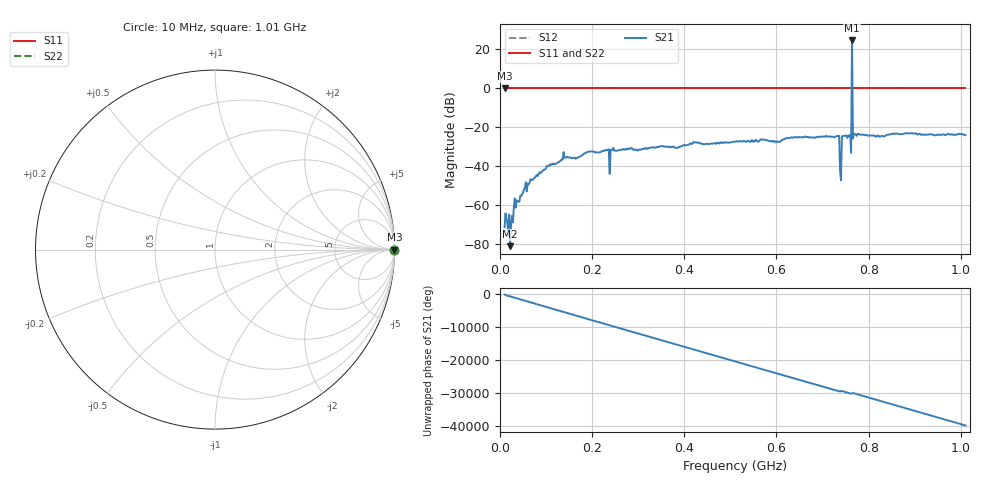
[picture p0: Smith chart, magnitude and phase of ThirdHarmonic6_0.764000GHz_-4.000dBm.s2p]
! 8/16/2025 1:31:25 AM
! C:\ANRITSUVNA\TEMP\TEMP.S2P
! CHANNEL.1
! TR.MEASUREMENT
! RAW.DATA
! RF.CORRECTION.OFF
! AVERAGING.OFF
! IF.BANDWIDTH: 5KHZ
! SWEEPTYPE:  FREQ.SWEEP(Linear)
! Reference Plane Port Info
! PORT:  PORT1  PORT2
! DISTANCE:  0  m  0  m
! TIME:  0  s  0  s
! PHASE.OFFSET:  0  deg.  0  deg.
! LOSS:  0  dB  0  dB
! REF.LOSS:  0  dB  0  dB
! REF.FREQ:  0  Hz  0  Hz
! Power Info
! POWER:  -20  dBm  -20  dBm
! EFF.POWER:  -20  dBm  -20  dBm
! SOURCE.ATTEN:  0  dB  0  dB
! TEST.ATTEN:  0  dB  0  dB
# GHZ S RI R 50.0
! FREQ.GHZ  S11RE  S11IM  S21RE  S21IM  S12RE  S12IM  S22RE  S22IM
!; PortSelection: Port_12
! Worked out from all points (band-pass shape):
!   501 points, 10 MHz to 1.01 GHz, reference 50 ohm
!   highest |S21| = 24.40 dB at 764 MHz (marker M1); lowest = -80.9 dB at 22 MHz (marker M2)
!   |S21| within 3 dB of the highest: 763.8957 MHz to 764.1194 MHz (223.7 kHz wide, 0.0293 % of centre)
!   lowest |S11| = 0.0 dB at 10 MHz (marker M3)
!   |S11| at or under -10 dB: nowhere
!   |S22| runs from 0.0 to 0.0 dB; largest |S21 - S12| = 18
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0.01  1 0  -0.000104 -0.000255  1 0  1 0
0.022  1 0  -1.69e-05 8.83e-05  1 0  1 0
0.026  1 0  -0.000411 -0.000343  1 0  1 0
0.034  1 0  0.000205 -0.000847  1 0  1 0
0.07  1 0  -0.000948 -0.0044  1 0  1 0
0.138  1 0  0.0231 -0.000562  1 0  1 0
0.178  1 0  -0.0187 -0.00424  1 0  1 0
0.344  1 0  0.0303 -0.00621  1 0  1 0
0.51  1 0  -0.0403 0.0131  1 0  1 0
0.678  1 0  -0.0214 -0.0489  1 0  1 0
0.732  1 0  -0.0349 -0.0478  1 0  1 0
0.736  1 0  0.0173 0.0574  1 0  1 0
0.738  1 0  0.00711 0.00351  1 0  1 0
0.742  1 0  -0.0572 -0.00889  1 0  1 0
0.746  1 0  0.052 0.0297  1 0  1 0
0.758  1 0  -0.00256 -0.0613  1 0  1 0
0.76  1 0  -0.0621 -0.00728  1 0  1 0
0.764  1 0  -16.23 -3.427  1 0  1 0
0.768  1 0  -0.0503 -0.0462  1 0  1 0
0.77  1 0  -0.0504 0.0431  1 0  1 0
0.844  1 0  0.0435 0.0475  1 0  1 0
1.01  1 0  -0.0598 -0.0173  1 0  1 0
